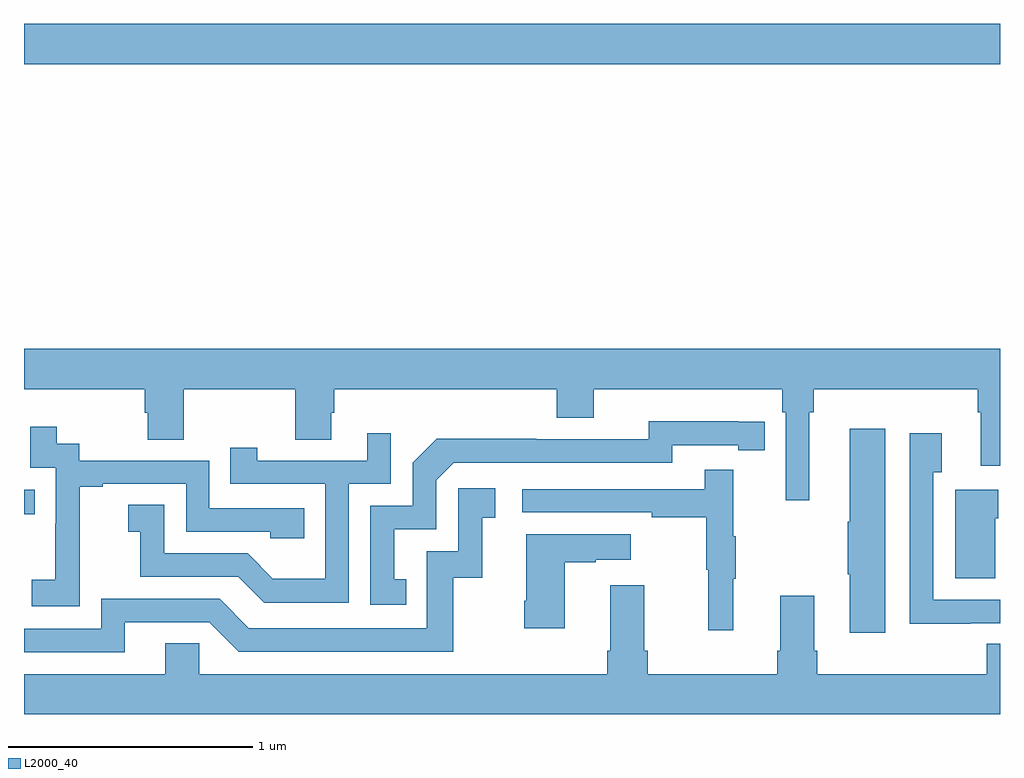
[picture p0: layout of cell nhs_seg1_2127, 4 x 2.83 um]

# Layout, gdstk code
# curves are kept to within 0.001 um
import gdstk
lib = gdstk.Library(unit=1e-6, precision=1e-09)
def R(c, l, rs):  # rectangles x0, y0, x1, y1
    for r in rs: c.add(gdstk.rectangle(r[:2], r[2:], *l))
def P(c, l, *ps):  # polygons
    for p in ps: c.add(gdstk.Polygon(p, *l))
L2000_40 = (2000, 40)

nhs_seg1_2127 = lib.new_cell('nhs_seg1_2127')
R(nhs_seg1_2127, L2000_40, [(227,519.25,227.045,519.351), (227,521.096,231,521.26)])
P(nhs_seg1_2127, L2000_40, [(230.218,519.668),(230.237,519.668),(230.237,519.764),(230.909,519.764),(230.909,519.668),(230.921,519.668),(230.921,519.45),(231,519.45),(231,519.928),(227,519.928),(227,519.764),(227.495,519.764),(227.495,519.666),(227.507,519.666),(227.507,519.556),(227.655,519.556),(227.655,519.764),(228.112,519.764),(228.112,519.556),(228.259,519.556),(228.259,519.666),(228.272,519.666),(228.272,519.764),(229.184,519.764),(229.184,519.647),(229.336,519.647),(229.336,519.764),(230.108,519.764),(230.108,519.668),(230.121,519.668),(230.121,519.309),(230.218,519.309)],
  [(228.566,518.985),(228.517,518.985),(228.517,519.189),(228.69,519.189),(228.69,519.39),(228.762,519.462),(229.656,519.462),(229.656,519.534),(229.928,519.534),(229.928,519.514),(230.036,519.514),(230.036,519.63),(229.56,519.631),(229.56,519.558),(229.1,519.558),(229.1,519.56),(228.692,519.56),(228.594,519.462),(228.594,519.285),(228.42,519.285),(228.42,518.88),(228.566,518.88)],
  [(227.229,519.079),(227.228,519.079),(227.228,519.363),(227.323,519.363),(227.323,519.375),(227.664,519.375),(227.664,519.18),(228.009,519.18),(228.009,519.153),(228.149,519.153),(228.149,519.276),(227.76,519.276),(227.76,519.471),(227.226,519.471),(227.226,519.54),(227.134,519.54),(227.134,519.61),(227.025,519.61),(227.025,519.441),(227.13,519.441),(227.13,519.212),(227.129,519.212),(227.129,518.983),(227.031,518.983),(227.031,518.873),(227.229,518.873)],
  [(230.53,519.601),(230.384,519.601),(230.384,519.221),(230.377,519.221),(230.377,519.004),(230.384,519.004),(230.384,518.766),(230.53,518.766)],
  [(228.33,519.375),(228.504,519.375),(228.504,519.583),(228.407,519.583),(228.407,519.471),(227.956,519.471),(227.956,519.523),(227.845,519.523),(227.845,519.375),(228.234,519.375),(228.234,518.986),(228.02,518.986),(227.916,519.09),(227.574,519.09),(227.574,519.289),(227.427,519.289),(227.427,519.179),(227.476,519.179),(227.476,518.994),(227.879,518.994),(227.984,518.889),(228.33,518.889)],
  [(230.881,518.805),(231,518.805),(231,518.901),(230.727,518.901),(230.727,519.422),(230.761,519.422),(230.761,519.583),(230.631,519.583),(230.631,518.801),(230.881,518.801)],
  [(229.907,518.987),(229.918,518.987),(229.918,519.161),(229.907,519.161),(229.907,519.433),(229.789,519.433),(229.789,519.354),(229.041,519.354),(229.041,519.258),(229.573,519.258),(229.573,519.238),(229.797,519.238),(229.797,519.024),(229.804,519.024),(229.804,518.775),(229.907,518.775)],
  [(227.413,518.808),(227.76,518.808),(227.88,518.688),(228.76,518.688),(228.76,518.991),(228.878,518.991),(228.878,519.237),(228.931,519.237),(228.931,519.358),(228.78,519.358),(228.78,519.099),(228.651,519.099),(228.651,518.784),(227.922,518.784),(227.802,518.904),(227.316,518.904),(227.316,518.781),(227,518.781),(227,518.685),(227.413,518.685)],
  [(230.98,519.234),(230.992,519.234),(230.992,519.352),(230.816,519.352),(230.816,518.988),(230.98,518.988)],
  [(229.216,519.055),(229.343,519.055),(229.343,519.065),(229.486,519.065),(229.486,519.169),(229.058,519.169),(229.058,518.896),(229.051,518.896),(229.051,518.784),(229.216,518.784)],
  [(231,518.72),(230.945,518.72),(230.945,518.596),(230.252,518.596),(230.252,518.692),(230.239,518.692),(230.239,518.917),(230.099,518.917),(230.099,518.692),(230.087,518.692),(230.087,518.596),(229.556,518.596),(229.556,518.692),(229.543,518.692),(229.543,518.959),(229.403,518.959),(229.403,518.692),(229.391,518.692),(229.391,518.596),(227.718,518.596),(227.718,518.723),(227.579,518.723),(227.579,518.596),(227,518.596),(227,518.432),(231,518.432)])

lib.write_gds('nhs_seg1_2127.gds')
